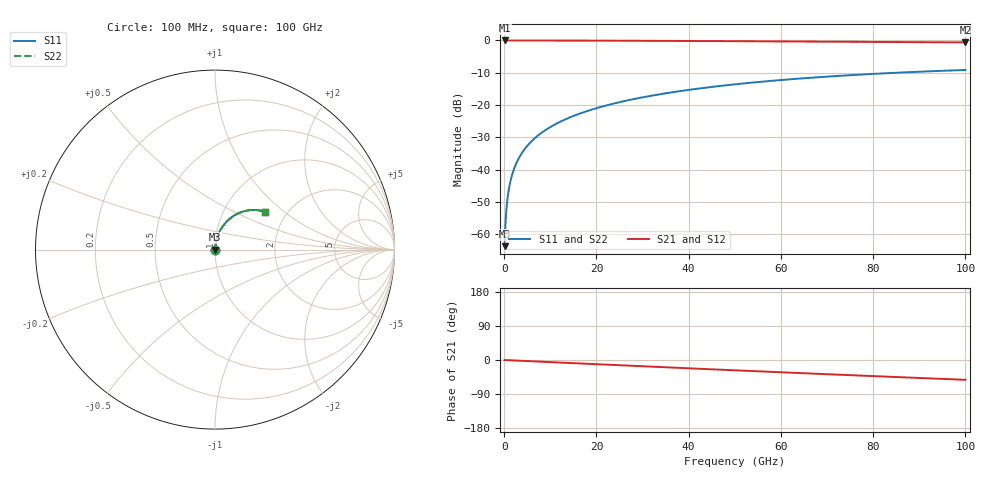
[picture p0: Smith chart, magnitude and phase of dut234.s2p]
! Touchstone file exported from HFSS 2026.1.0
!  File:  C:/ffzhzh/LocalFiles/Ansys_Project_Files/temp_train_TSV_234_1783508045_44152.aedt
!  Generated:  06:55:35 PM Jul  8, 2026
!  Design:  TSV
!  Project:  temp_train_TSV_234_1783508045_44152
! Variables:
!  h_bsmrdl = 2um
!  h_ox = 20um
!  h_rdl = 5um
!  h_sub = 98.69um
!  h_tmrdl = 5um
!  h_tsv = 98.69um
!  h_via = 3um
!  l_bsmrdl = 300um
!  l_sub = 410.8um
!  l_tmrdl = 200um
!  m_sub = 200um
!  pitch = 46.61um
!  r_tsv = 5.4um
!  s_tmrdl = 10um
!  w_bsmrdl = 18um
!  w_sub = 500um
!  w_tmrdl = 12um
!  x_tsv_center1 = 206um
!  x_tsv_center2 = 524um
!  x_tsv_center3 = 736um
!  x_tsv_center4 = 1054um
!  x_tsv_center5 = 1266um
!  x_tsv_center6 = 1584um
# GHz S MA R 50.000000
! Terminal data exported
! Port[1] = TSV1_1_T1
! Port[2] = TSV1_1_T2
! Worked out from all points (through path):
!   1000 points, 100 MHz to 100 GHz, reference 50 ohm
!   highest |S21| = 0.00 dB at 100 MHz (marker M1); lowest = -0.6 dB at 100 GHz (marker M2)
!   group delay of S21, straight-line fit = 1.45 ps
!   lowest |S11| = -63.7 dB at 100 MHz (marker M3), VSWR 1.00, Z = 50 + j0.0499 ohm
!   |S11| at or under -10 dB: start of sweep to 85.06 GHz
!   |S22| runs from -63.7 to -9.1 dB; largest |S21 - S12| = 2.7e-15
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0.1  0.0006504 50.1  0.9996 -0.1  0.9996 -0.1  0.0006504 50.1
! Gamma 0 0 0 0
! Port Impedance 50 0 50 0
0.4  0.002001 76.6  0.9995 -0.2  0.9995 -0.2  0.002001 76.6
0.7  0.00342 81.4  0.9995 -0.4  0.9995 -0.4  0.00342 81.4
0.8  0.003895 82.2  0.9995 -0.5  0.9995 -0.5  0.003895 82.2
1.1  0.005321 83.5  0.9994 -0.6  0.9994 -0.6  0.005321 83.5
1.4  0.00674 84.2  0.9994 -0.8  0.9994 -0.8  0.00674 84.2
1.9  0.009087 84.6  0.9993 -1.1  0.9993 -1.1  0.009087 84.6
2.4  0.01141 84.7  0.9992 -1.4  0.9992 -1.4  0.01141 84.7
3  0.01416 84.7  0.999 -1.7  0.999 -1.7  0.01416 84.7
3.8  0.0178 84.5  0.9988 -2.2  0.9988 -2.2  0.0178 84.5
4.8  0.02231 84.3  0.9986 -2.7  0.9986 -2.7  0.02231 84.3
6  0.02769 83.9  0.9983 -3.4  0.9983 -3.4  0.02769 83.9
8.8  0.04019 82.8  0.9976 -4.9  0.9976 -4.9  0.04019 82.8
12.4  0.05614 81.1  0.9965 -6.9  0.9965 -6.9  0.05614 81.1
16.8  0.07539 79.0  0.9949 -9.3  0.9949 -9.3  0.07539 79.0
24.2  0.1071 75.2  0.9916 -13.4  0.9916 -13.4  0.1071 75.2
33.4  0.1453 70.4  0.9863 -18.4  0.9863 -18.4  0.1453 70.4
41.2  0.1761 66.4  0.981 -22.6  0.981 -22.6  0.1761 66.4
50.1  0.2094 61.8  0.9742 -27.3  0.9742 -27.3  0.2094 61.8
66.7  0.2651 53.3  0.9602 -35.8  0.9602 -35.8  0.2651 53.3
83.4  0.3121 45.1  0.9457 -44.2  0.9457 -44.2  0.3121 45.1
100  0.3489 37.1  0.9326 -52.3  0.9326 -52.3  0.3489 37.1
